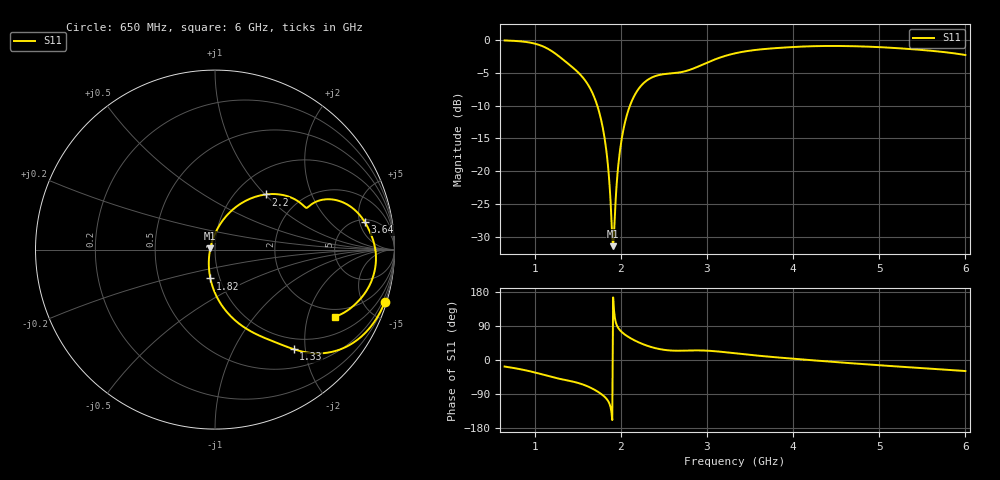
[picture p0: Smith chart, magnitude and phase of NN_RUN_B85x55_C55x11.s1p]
! IGNION VIRTUAL ANTENNA LIBRARY
! NN_RUN_B85x55_C55x11
! Virtual Antenna™ RUN mXTEND™: NN02-224 12.0 mm x 3.0 mm x 2.4 mm
! https://ignion.io/product/run-mxtend/
! Board: 85 mm x 55 mm
! Clearance Area: 55 mm x 11 mm
! Feeding line: L-shape; 11mm x 2mm and 5mm x 2mm
! Applications: Fleet management, IoT
! Frequency range 0.65GHz to 6GHz, step 10MHz
! Number of ports 1
! This product and its use is protected by at least one or more of the following patents and patent
! applications US 8,203,492 B2; US 8,237,615 B2; PCT/EP2013/064692; WO 2014/012842 A1; US 2019/190122 A1;
! US 62/072,671; and other domestic and international patents pending. Additional information about
! patents related to this product is available at https://ignion.io/files/Patent-list-NN.pdf, all
! rights reserved. Copyright, Ignion 2021.
! Need more help? Your platform is much different than these examples in the manual? Use our
! Fast Track service (https://ignion.io/fast-track/), for free, and get a personalized antenna design in
! just 24 hours.
! Touchstone port 1 = "Series Port"
! IE3D S-Parameters Output Version 2.0
# GHZ S MA R 50
! Nport = 1
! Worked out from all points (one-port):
!   536 points, 650 MHz to 6 GHz, reference 50 ohm
!   lowest |S11| = -31.4 dB at 1.91 GHz (marker M1), VSWR 1.06, Z = 47.5 + j0.654 ohm
!   |S11| at or under -10 dB: 1.726 GHz to 2.106 GHz (380.1 MHz wide, 19.8 % of centre)
!   S11 on the Smith chart (normalised r, x): 650 MHz: 0.23, -6.58; 1.33 GHz: 0.80, -1.78; 1.82 GHz: 0.90, -0.30; 2.2 GHz: 1.36, +1.01; 3.64 GHz: 5.50, +6.03; 6 GHz: 1.66, -3.01
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0.65  0.9898 -17.3
0.98  0.9432 -31.7
1.16  0.85 -42.5
1.32  0.7157 -51.2
1.33  0.707 -51.7
1.54  0.5342 -63.2
1.66  0.4068 -74.4
1.75  0.2792 -86.3
1.82  0.1629 -99.1
1.86  0.09326 -111.7
1.89  0.044 -136.6
1.9  0.03163 -158.5
1.91  0.02693 165.2
1.92  0.03326 131.0
1.96  0.09466 88.2
1.99  0.1447 78.4
2.03  0.2089 70.0
2.07  0.2682 63.4
2.2  0.4189 47.2
2.4  0.5305 31.3
2.66  0.5627 24.5
3.04  0.688 24.1
3.33  0.7913 17.7
3.64  0.8486 10.4
4  0.8825 3.4
4.67  0.8958 -8.5
5.34  0.8534 -19.0
6  0.7669 -29.1
